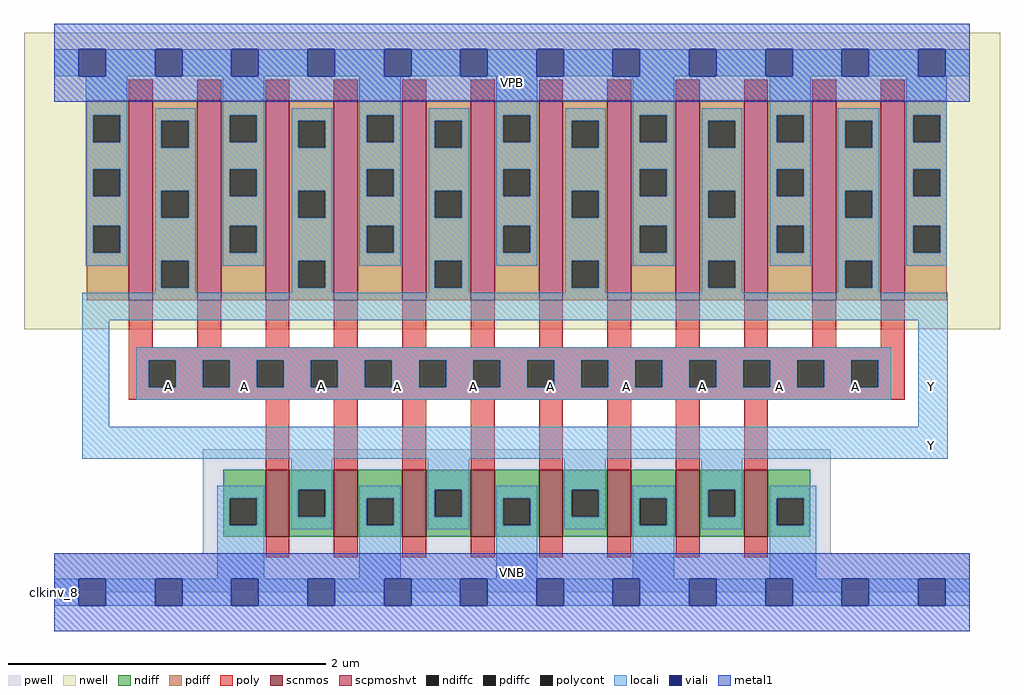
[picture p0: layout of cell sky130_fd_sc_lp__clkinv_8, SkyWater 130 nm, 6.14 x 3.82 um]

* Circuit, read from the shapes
.subckt sky130_fd_sc_lp__clkinv_8 A VGND VNB VPB VPWR Y
XM1 Y A VGND VNB sky130_fd_pr__nfet_01v8 w=0.42 l=0.15 m=8
XM2 Y A VPWR VPB sky130_fd_pr__pfet_01v8_hvt w=1.26 l=0.15 m=12
.ends

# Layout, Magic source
magic
tech sky130A
magscale 1 2
<< nwell >>
rect -38 331 1190 704
<< pwell >>
rect 187 49 977 180
rect 0 0 1152 49
<< scnmos >>
rect 266 70 296 154
rect 352 70 382 154
rect 438 70 468 154
rect 524 70 554 154
rect 610 70 640 154
rect 696 70 726 154
rect 782 70 812 154
rect 868 70 898 154
<< scpmoshvt >>
rect 94 367 124 619
rect 180 367 210 619
rect 266 367 296 619
rect 352 367 382 619
rect 438 367 468 619
rect 524 367 554 619
rect 610 367 640 619
rect 696 367 726 619
rect 782 367 812 619
rect 868 367 898 619
rect 954 367 984 619
rect 1040 367 1070 619
<< ndiff >>
rect 213 118 266 154
rect 213 84 221 118
rect 255 84 266 118
rect 213 70 266 84
rect 296 129 352 154
rect 296 95 307 129
rect 341 95 352 129
rect 296 70 352 95
rect 382 118 438 154
rect 382 84 393 118
rect 427 84 438 118
rect 382 70 438 84
rect 468 129 524 154
rect 468 95 479 129
rect 513 95 524 129
rect 468 70 524 95
rect 554 118 610 154
rect 554 84 565 118
rect 599 84 610 118
rect 554 70 610 84
rect 640 129 696 154
rect 640 95 651 129
rect 685 95 696 129
rect 640 70 696 95
rect 726 118 782 154
rect 726 84 737 118
rect 771 84 782 118
rect 726 70 782 84
rect 812 129 868 154
rect 812 95 823 129
rect 857 95 868 129
rect 812 70 868 95
rect 898 118 951 154
rect 898 84 909 118
rect 943 84 951 118
rect 898 70 951 84
<< pdiff >>
rect 41 600 94 619
rect 41 566 49 600
rect 83 566 94 600
rect 41 532 94 566
rect 41 498 49 532
rect 83 498 94 532
rect 41 461 94 498
rect 41 427 49 461
rect 83 427 94 461
rect 41 367 94 427
rect 124 593 180 619
rect 124 559 135 593
rect 169 559 180 593
rect 124 505 180 559
rect 124 471 135 505
rect 169 471 180 505
rect 124 417 180 471
rect 124 383 135 417
rect 169 383 180 417
rect 124 367 180 383
rect 210 600 266 619
rect 210 566 221 600
rect 255 566 266 600
rect 210 532 266 566
rect 210 498 221 532
rect 255 498 266 532
rect 210 461 266 498
rect 210 427 221 461
rect 255 427 266 461
rect 210 367 266 427
rect 296 593 352 619
rect 296 559 307 593
rect 341 559 352 593
rect 296 505 352 559
rect 296 471 307 505
rect 341 471 352 505
rect 296 417 352 471
rect 296 383 307 417
rect 341 383 352 417
rect 296 367 352 383
rect 382 600 438 619
rect 382 566 393 600
rect 427 566 438 600
rect 382 532 438 566
rect 382 498 393 532
rect 427 498 438 532
rect 382 461 438 498
rect 382 427 393 461
rect 427 427 438 461
rect 382 367 438 427
rect 468 593 524 619
rect 468 559 479 593
rect 513 559 524 593
rect 468 505 524 559
rect 468 471 479 505
rect 513 471 524 505
rect 468 417 524 471
rect 468 383 479 417
rect 513 383 524 417
rect 468 367 524 383
rect 554 600 610 619
rect 554 566 565 600
rect 599 566 610 600
rect 554 532 610 566
rect 554 498 565 532
rect 599 498 610 532
rect 554 461 610 498
rect 554 427 565 461
rect 599 427 610 461
rect 554 367 610 427
rect 640 593 696 619
rect 640 559 651 593
rect 685 559 696 593
rect 640 505 696 559
rect 640 471 651 505
rect 685 471 696 505
rect 640 417 696 471
rect 640 383 651 417
rect 685 383 696 417
rect 640 367 696 383
rect 726 600 782 619
rect 726 566 737 600
rect 771 566 782 600
rect 726 532 782 566
rect 726 498 737 532
rect 771 498 782 532
rect 726 461 782 498
rect 726 427 737 461
rect 771 427 782 461
rect 726 367 782 427
rect 812 593 868 619
rect 812 559 823 593
rect 857 559 868 593
rect 812 505 868 559
rect 812 471 823 505
rect 857 471 868 505
rect 812 417 868 471
rect 812 383 823 417
rect 857 383 868 417
rect 812 367 868 383
rect 898 600 954 619
rect 898 566 909 600
rect 943 566 954 600
rect 898 532 954 566
rect 898 498 909 532
rect 943 498 954 532
rect 898 461 954 498
rect 898 427 909 461
rect 943 427 954 461
rect 898 367 954 427
rect 984 593 1040 619
rect 984 559 995 593
rect 1029 559 1040 593
rect 984 505 1040 559
rect 984 471 995 505
rect 1029 471 1040 505
rect 984 417 1040 471
rect 984 383 995 417
rect 1029 383 1040 417
rect 984 367 1040 383
rect 1070 600 1123 619
rect 1070 566 1081 600
rect 1115 566 1123 600
rect 1070 532 1123 566
rect 1070 498 1081 532
rect 1115 498 1123 532
rect 1070 461 1123 498
rect 1070 427 1081 461
rect 1115 427 1123 461
rect 1070 367 1123 427
<< ndiffc >>
rect 221 84 255 118
rect 307 95 341 129
rect 393 84 427 118
rect 479 95 513 129
rect 565 84 599 118
rect 651 95 685 129
rect 737 84 771 118
rect 823 95 857 129
rect 909 84 943 118
<< pdiffc >>
rect 49 566 83 600
rect 49 498 83 532
rect 49 427 83 461
rect 135 559 169 593
rect 135 471 169 505
rect 135 383 169 417
rect 221 566 255 600
rect 221 498 255 532
rect 221 427 255 461
rect 307 559 341 593
rect 307 471 341 505
rect 307 383 341 417
rect 393 566 427 600
rect 393 498 427 532
rect 393 427 427 461
rect 479 559 513 593
rect 479 471 513 505
rect 479 383 513 417
rect 565 566 599 600
rect 565 498 599 532
rect 565 427 599 461
rect 651 559 685 593
rect 651 471 685 505
rect 651 383 685 417
rect 737 566 771 600
rect 737 498 771 532
rect 737 427 771 461
rect 823 559 857 593
rect 823 471 857 505
rect 823 383 857 417
rect 909 566 943 600
rect 909 498 943 532
rect 909 427 943 461
rect 995 559 1029 593
rect 995 471 1029 505
rect 995 383 1029 417
rect 1081 566 1115 600
rect 1081 498 1115 532
rect 1081 427 1115 461
<< poly >>
rect 94 619 124 645
rect 180 619 210 645
rect 266 619 296 645
rect 352 619 382 645
rect 438 619 468 645
rect 524 619 554 645
rect 610 619 640 645
rect 696 619 726 645
rect 782 619 812 645
rect 868 619 898 645
rect 954 619 984 645
rect 1040 619 1070 645
rect 94 308 124 367
rect 180 308 210 367
rect 266 308 296 367
rect 352 308 382 367
rect 438 308 468 367
rect 524 308 554 367
rect 610 308 640 367
rect 696 308 726 367
rect 782 308 812 367
rect 868 308 898 367
rect 954 308 984 367
rect 1040 308 1070 367
rect 94 292 1070 308
rect 94 258 119 292
rect 153 258 187 292
rect 221 258 255 292
rect 289 258 323 292
rect 357 258 391 292
rect 425 258 459 292
rect 493 258 527 292
rect 561 258 595 292
rect 629 258 663 292
rect 697 258 731 292
rect 765 258 799 292
rect 833 258 867 292
rect 901 258 935 292
rect 969 258 1003 292
rect 1037 258 1070 292
rect 94 242 1070 258
rect 266 154 296 242
rect 352 154 382 242
rect 438 154 468 242
rect 524 154 554 242
rect 610 154 640 242
rect 696 154 726 242
rect 782 154 812 242
rect 868 154 898 242
rect 266 44 296 70
rect 352 44 382 70
rect 438 44 468 70
rect 524 44 554 70
rect 610 44 640 70
rect 696 44 726 70
rect 782 44 812 70
rect 868 44 898 70
<< polycont >>
rect 119 258 153 292
rect 187 258 221 292
rect 255 258 289 292
rect 323 258 357 292
rect 391 258 425 292
rect 459 258 493 292
rect 527 258 561 292
rect 595 258 629 292
rect 663 258 697 292
rect 731 258 765 292
rect 799 258 833 292
rect 867 258 901 292
rect 935 258 969 292
rect 1003 258 1037 292
<< locali >>
rect 0 649 31 683
rect 65 649 127 683
rect 161 649 223 683
rect 257 649 319 683
rect 353 649 415 683
rect 449 649 511 683
rect 545 649 607 683
rect 641 649 703 683
rect 737 649 799 683
rect 833 649 895 683
rect 929 649 991 683
rect 1025 649 1087 683
rect 1121 649 1152 683
rect 40 600 92 649
rect 40 566 49 600
rect 83 566 92 600
rect 40 532 92 566
rect 40 498 49 532
rect 83 498 92 532
rect 40 461 92 498
rect 40 427 49 461
rect 83 427 92 461
rect 40 411 92 427
rect 127 593 178 609
rect 127 559 135 593
rect 169 559 178 593
rect 127 505 178 559
rect 127 471 135 505
rect 169 471 178 505
rect 127 417 178 471
rect 127 383 135 417
rect 169 383 178 417
rect 212 600 264 649
rect 212 566 221 600
rect 255 566 264 600
rect 212 532 264 566
rect 212 498 221 532
rect 255 498 264 532
rect 212 461 264 498
rect 212 427 221 461
rect 255 427 264 461
rect 212 411 264 427
rect 299 593 350 609
rect 299 559 307 593
rect 341 559 350 593
rect 299 505 350 559
rect 299 471 307 505
rect 341 471 350 505
rect 299 417 350 471
rect 127 377 178 383
rect 299 383 307 417
rect 341 383 350 417
rect 384 600 436 649
rect 384 566 393 600
rect 427 566 436 600
rect 384 532 436 566
rect 384 498 393 532
rect 427 498 436 532
rect 384 461 436 498
rect 384 427 393 461
rect 427 427 436 461
rect 384 411 436 427
rect 471 593 522 609
rect 471 559 479 593
rect 513 559 522 593
rect 471 505 522 559
rect 471 471 479 505
rect 513 471 522 505
rect 471 417 522 471
rect 299 377 350 383
rect 471 383 479 417
rect 513 383 522 417
rect 556 600 608 649
rect 556 566 565 600
rect 599 566 608 600
rect 556 532 608 566
rect 556 498 565 532
rect 599 498 608 532
rect 556 461 608 498
rect 556 427 565 461
rect 599 427 608 461
rect 556 411 608 427
rect 643 593 694 609
rect 643 559 651 593
rect 685 559 694 593
rect 643 505 694 559
rect 643 471 651 505
rect 685 471 694 505
rect 643 417 694 471
rect 471 377 522 383
rect 643 383 651 417
rect 685 383 694 417
rect 728 600 780 649
rect 728 566 737 600
rect 771 566 780 600
rect 728 532 780 566
rect 728 498 737 532
rect 771 498 780 532
rect 728 461 780 498
rect 728 427 737 461
rect 771 427 780 461
rect 728 411 780 427
rect 815 593 866 609
rect 815 559 823 593
rect 857 559 866 593
rect 815 505 866 559
rect 815 471 823 505
rect 857 471 866 505
rect 815 417 866 471
rect 643 377 694 383
rect 815 383 823 417
rect 857 383 866 417
rect 900 600 952 649
rect 900 566 909 600
rect 943 566 952 600
rect 900 532 952 566
rect 900 498 909 532
rect 943 498 952 532
rect 900 461 952 498
rect 900 427 909 461
rect 943 427 952 461
rect 900 411 952 427
rect 986 593 1038 609
rect 986 559 995 593
rect 1029 559 1038 593
rect 986 505 1038 559
rect 986 471 995 505
rect 1029 471 1038 505
rect 986 417 1038 471
rect 815 377 866 383
rect 986 383 995 417
rect 1029 383 1038 417
rect 1072 600 1123 649
rect 1072 566 1081 600
rect 1115 566 1123 600
rect 1072 532 1123 566
rect 1072 498 1081 532
rect 1115 498 1123 532
rect 1072 461 1123 498
rect 1072 427 1081 461
rect 1115 427 1123 461
rect 1072 411 1123 427
rect 986 377 1038 383
rect 35 342 1124 377
rect 35 208 69 342
rect 103 292 1053 308
rect 103 258 119 292
rect 153 258 187 292
rect 221 258 255 292
rect 289 258 323 292
rect 357 258 391 292
rect 425 258 459 292
rect 493 258 527 292
rect 561 258 595 292
rect 629 258 663 292
rect 697 258 731 292
rect 765 258 799 292
rect 833 258 867 292
rect 901 258 935 292
rect 969 258 1003 292
rect 1037 258 1053 292
rect 103 242 1053 258
rect 1087 208 1124 342
rect 35 168 1124 208
rect 205 118 264 134
rect 205 84 221 118
rect 255 84 264 118
rect 205 17 264 84
rect 298 129 350 168
rect 298 95 307 129
rect 341 95 350 129
rect 298 79 350 95
rect 384 118 436 134
rect 384 84 393 118
rect 427 84 436 118
rect 384 17 436 84
rect 470 129 522 168
rect 470 95 479 129
rect 513 95 522 129
rect 470 79 522 95
rect 556 118 608 134
rect 556 84 565 118
rect 599 84 608 118
rect 556 17 608 84
rect 642 129 694 168
rect 642 95 651 129
rect 685 95 694 129
rect 642 79 694 95
rect 728 118 780 134
rect 728 84 737 118
rect 771 84 780 118
rect 728 17 780 84
rect 814 129 866 168
rect 814 95 823 129
rect 857 95 866 129
rect 814 79 866 95
rect 900 118 959 134
rect 900 84 909 118
rect 943 84 959 118
rect 900 17 959 84
rect 0 -17 31 17
rect 65 -17 127 17
rect 161 -17 223 17
rect 257 -17 319 17
rect 353 -17 415 17
rect 449 -17 511 17
rect 545 -17 607 17
rect 641 -17 703 17
rect 737 -17 799 17
rect 833 -17 895 17
rect 929 -17 991 17
rect 1025 -17 1087 17
rect 1121 -17 1152 17
<< viali >>
rect 31 649 65 683
rect 127 649 161 683
rect 223 649 257 683
rect 319 649 353 683
rect 415 649 449 683
rect 511 649 545 683
rect 607 649 641 683
rect 703 649 737 683
rect 799 649 833 683
rect 895 649 929 683
rect 991 649 1025 683
rect 1087 649 1121 683
rect 31 -17 65 17
rect 127 -17 161 17
rect 223 -17 257 17
rect 319 -17 353 17
rect 415 -17 449 17
rect 511 -17 545 17
rect 607 -17 641 17
rect 703 -17 737 17
rect 799 -17 833 17
rect 895 -17 929 17
rect 991 -17 1025 17
rect 1087 -17 1121 17
<< metal1 >>
rect 0 683 1152 715
rect 0 649 31 683
rect 65 649 127 683
rect 161 649 223 683
rect 257 649 319 683
rect 353 649 415 683
rect 449 649 511 683
rect 545 649 607 683
rect 641 649 703 683
rect 737 649 799 683
rect 833 649 895 683
rect 929 649 991 683
rect 1025 649 1087 683
rect 1121 649 1152 683
rect 0 617 1152 649
rect 0 17 1152 49
rect 0 -17 31 17
rect 65 -17 127 17
rect 161 -17 223 17
rect 257 -17 319 17
rect 353 -17 415 17
rect 449 -17 511 17
rect 545 -17 607 17
rect 641 -17 703 17
rect 737 -17 799 17
rect 833 -17 895 17
rect 929 -17 991 17
rect 1025 -17 1087 17
rect 1121 -17 1152 17
rect 0 -49 1152 -17
<< labels >>
flabel pwell s 0 0 1152 49 0 FreeSans 200 0 0 0 VNB
port 3 nsew ground bidirectional
flabel nwell s 0 617 1152 666 0 FreeSans 200 0 0 0 VPB
port 4 nsew power bidirectional
rlabel comment s 0 0 0 0 4 clkinv_8
flabel metal1 s 0 617 1152 666 0 FreeSans 340 0 0 0 VPWR
port 5 nsew power bidirectional
flabel metal1 s 0 0 1152 49 0 FreeSans 340 0 0 0 VGND
port 2 nsew ground bidirectional
flabel locali s 895 242 929 276 0 FreeSans 340 0 0 0 A
port 1 nsew signal input
flabel locali s 991 242 1025 276 0 FreeSans 340 0 0 0 A
port 1 nsew signal input
flabel locali s 1087 168 1121 202 0 FreeSans 340 0 0 0 Y
port 6 nsew signal output
flabel locali s 1087 242 1121 276 0 FreeSans 340 0 0 0 Y
port 6 nsew signal output
flabel locali s 607 242 641 276 0 FreeSans 340 0 0 0 A
port 1 nsew signal input
flabel locali s 799 242 833 276 0 FreeSans 340 0 0 0 A
port 1 nsew signal input
flabel locali s 703 242 737 276 0 FreeSans 340 0 0 0 A
port 1 nsew signal input
flabel locali s 127 242 161 276 0 FreeSans 340 0 0 0 A
port 1 nsew signal input
flabel locali s 319 242 353 276 0 FreeSans 340 0 0 0 A
port 1 nsew signal input
flabel locali s 223 242 257 276 0 FreeSans 340 0 0 0 A
port 1 nsew signal input
flabel locali s 415 242 449 276 0 FreeSans 340 0 0 0 A
port 1 nsew signal input
flabel locali s 511 242 545 276 0 FreeSans 340 0 0 0 A
port 1 nsew signal input
<< properties >>
string LEFsite unit
string LEFclass CORE
string FIXED_BBOX 0 0 1152 666
string GDS_FILE $PDKPATH/libs.ref/sky130_fd_sc_lp/gds/sky130_fd_sc_lp.gds
string LEFsymmetry X Y R90
string GDS_END 4698238
string GDS_START 4688248
<< end >>
